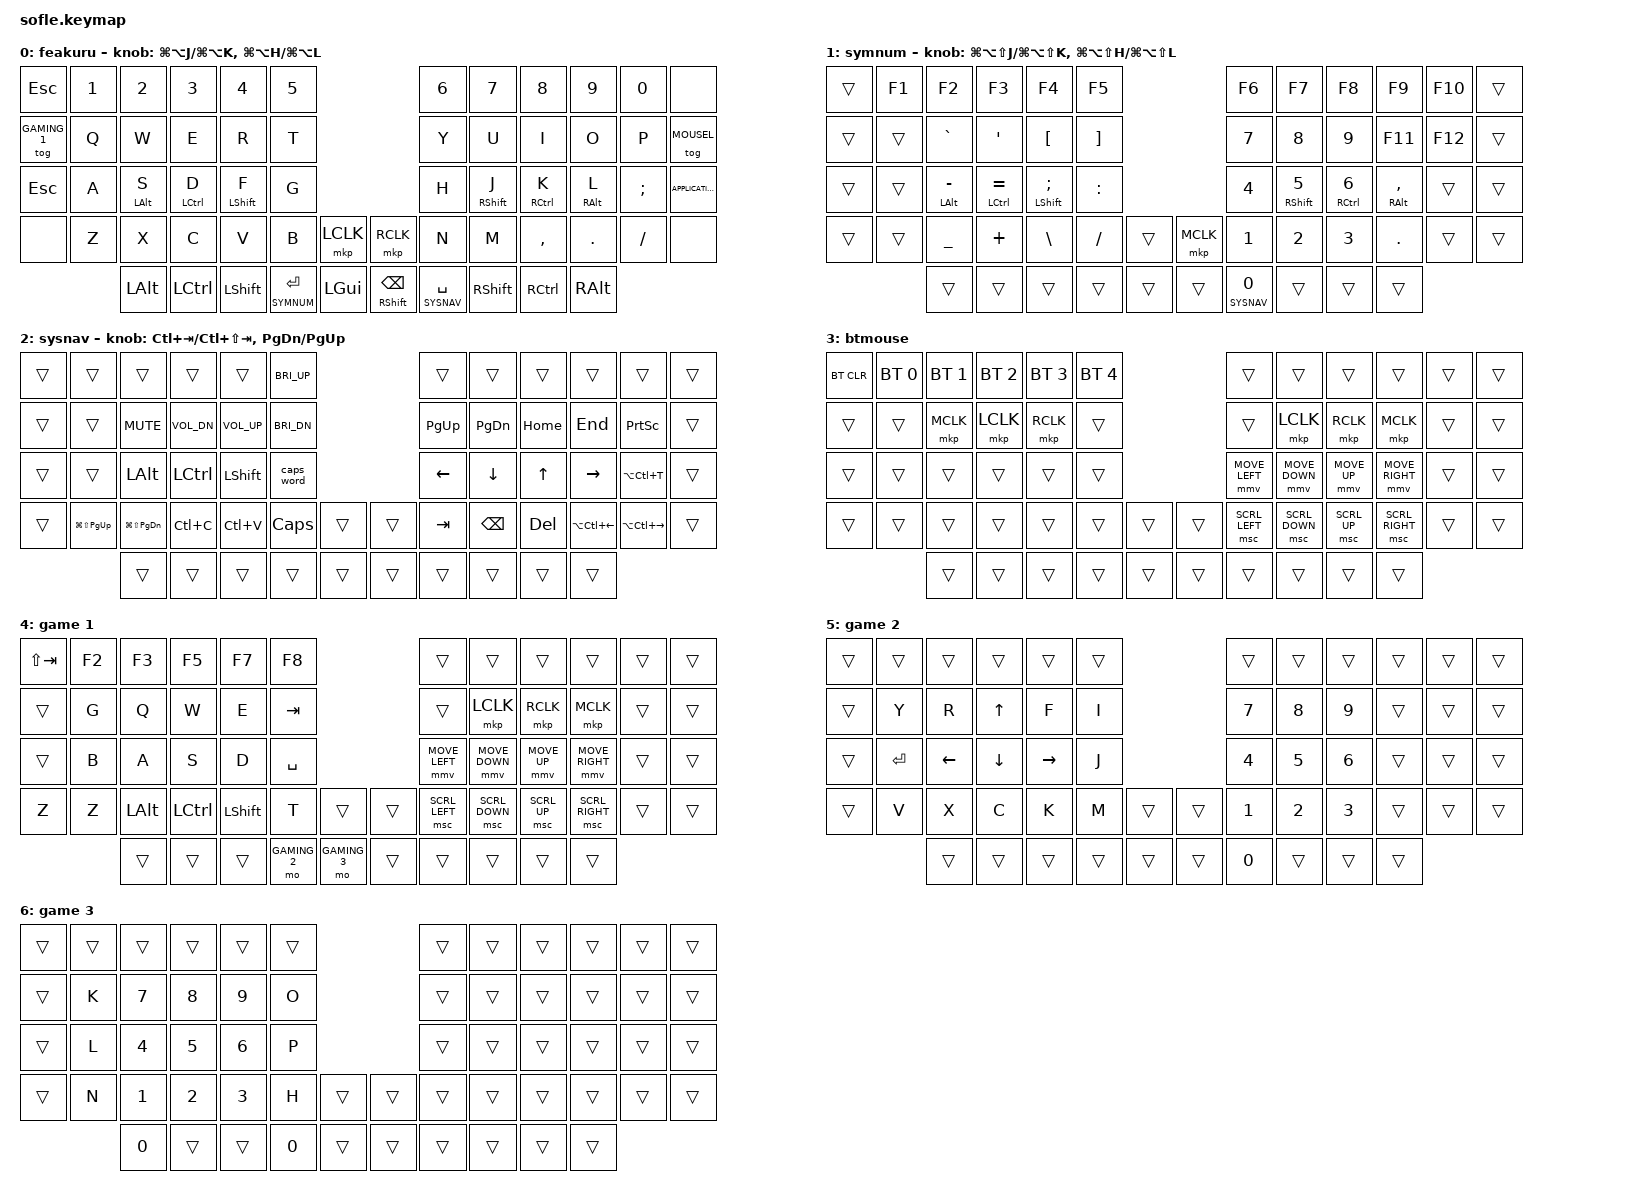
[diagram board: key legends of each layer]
#define ZMK_POINTING_DEFAULT_MOVE_VAL 600
#define ZMK_POINTING_DEFAULT_SCRL_VAL 70
#define ZMK_MOUSE_SCRL_VAL 140

#include <behaviors.dtsi>
#include <dt-bindings/zmk/keys.h>
#include <dt-bindings/zmk/bt.h>
#include <dt-bindings/zmk/rgb.h>
#include <dt-bindings/zmk/ext_power.h>
#include <dt-bindings/zmk/pointing.h>

#define BASE      0
#define SYMNUM    1
#define SYSNAV    2
#define MOUSEL    3
#define GAMING_1  4
#define GAMING_2  5
#define GAMING_3  6

&mmv {
  acceleration-exponent = <1>;
  time-to-max-speed-ms = <300>;
};

&msc {
  acceleration-exponent = <10>;
  time-to-max-speed-ms = <100>;
};

/ {
    behaviors {
        bhm: balanced_homerow_mods {
            compatible = "zmk,behavior-hold-tap";
            #binding-cells = <2>;
            tapping-term-ms = <200>;    // <---[[moderate duration]]
            quick-tap-ms = <0>;
            flavor = "balanced";
            bindings = <&kp>, <&kp>;
        };
    };

    keymap {
        compatible = "zmk,keymap";

        default_layer {
            display-name = "feakuru";
            bindings = <
&kp ESC        &kp N1  &kp N2       &kp N3        &kp N4         &kp N5                                          &kp N6            &kp N7         &kp N8        &kp N9       &kp N0    &none
&tog GAMING_1  &kp Q   &kp W        &kp E         &kp R          &kp T                                           &kp Y             &kp U          &kp I         &kp O        &kp P     &tog MOUSEL
&kp ESC        &kp A   &bhm LALT S  &bhm LCTRL D  &bhm LSHIFT F  &kp G                                           &kp H             &bhm RSHIFT J  &bhm RCTRL K  &bhm RALT L  &kp SEMI  &kp K_APPLICATION
&none          &kp Z   &kp X        &kp C         &kp V          &kp B             &mkp LCLK   &mkp RCLK         &kp N             &kp M          &kp COMMA     &kp DOT      &kp FSLH  &none
                       &kp LALT     &kp LCTRL     &kp LSHIFT     &lt SYMNUM ENTER  &kp LGUI    &bhm RSHIFT BSPC  &lt SYSNAV SPACE  &kp RSHIFT     &kp RCTRL     &kp RALT
            >;
            sensor-bindings =
                <&inc_dec_kp LG(LA(J)) LG(LA(K))>,
                <&inc_dec_kp LG(LA(H)) LG(LA(L))>;
        };

        symnum_layer {
            display-name = "symnum";
            bindings = <
&trans  &kp F1  &kp F2           &kp F3            &kp F4            &kp F5                        &kp F6         &kp F7          &kp F8         &kp F9           &kp F10  &trans
&trans  &trans  &kp GRAVE        &kp APOS          &kp LBKT          &kp RBKT                      &kp N7         &kp N8          &kp N9         &kp F11          &kp F12  &trans
&trans  &trans  &bhm LALT MINUS  &bhm LCTRL EQUAL  &bhm LSHIFT SEMI  &kp COLON                     &kp N4         &bhm RSHIFT N5  &bhm RCTRL N6  &bhm RALT COMMA  &trans   &trans
&trans  &trans  &kp UNDERSCORE   &kp PLUS          &kp BSLH          &kp FSLH   &trans  &mkp MCLK  &kp N1         &kp N2          &kp N3         &kp DOT          &trans   &trans
                &trans           &trans            &trans            &trans     &trans  &trans     &lt SYSNAV N0  &trans          &trans         &trans
            >;
            sensor-bindings =
                <&inc_dec_kp LG(LA(LS(J))) LG(LA(LS(K)))>,
                <&inc_dec_kp LG(LA(LS(H))) LG(LA(LS(L)))>;
        };

        sysnav_layer {
            display-name = "sysnav";
            bindings = <
&trans  &trans             &trans             &trans        &trans        &kp C_BRI_UP                  &trans     &trans     &trans    &trans             &trans             &trans
&trans  &trans             &kp C_MUTE         &kp C_VOL_DN  &kp C_VOL_UP  &kp C_BRI_DN                  &kp PG_UP  &kp PG_DN  &kp HOME  &kp END            &kp PSCRN          &trans
&trans  &trans             &kp LALT           &kp LCTRL     &kp LSHFT     &caps_word                    &kp LEFT   &kp DOWN   &kp UP    &kp RIGHT          &kp LA(LC(T))      &trans
&trans  &kp LG(LS(PG_UP))  &kp LG(LS(PG_DN))  &kp LC(C)     &kp LC(V)     &kp CAPS      &trans  &trans  &kp TAB    &kp BSPC   &kp DEL   &kp LA(LC(LEFT))   &kp LA(LC(RIGHT))  &trans
                           &trans             &trans        &trans        &trans        &trans  &trans  &trans     &trans     &trans    &trans
            >;
            sensor-bindings = 
                <&inc_dec_kp LC(TAB) LC(LS(TAB))>,
                <&inc_dec_kp PG_DN PG_UP>;
        };

        mouse_layer {
            display-name = "btmouse";
            bindings = <
&bt BT_CLR  &bt BT_SEL 0  &bt BT_SEL 1  &bt BT_SEL 2  &bt BT_SEL 3  &bt BT_SEL 4                   &trans          &trans          &trans          &trans           &trans  &trans
&trans      &trans        &mkp MCLK     &mkp LCLK     &mkp RCLK     &trans                         &trans          &mkp LCLK       &mkp RCLK       &mkp MCLK        &trans  &trans
&trans      &trans        &trans        &trans        &trans        &trans                         &mmv MOVE_LEFT  &mmv MOVE_DOWN  &mmv MOVE_UP    &mmv MOVE_RIGHT  &trans  &trans
&trans      &trans        &trans        &trans        &trans        &trans        &trans  &trans   &msc SCRL_LEFT  &msc SCRL_DOWN  &msc SCRL_UP    &msc SCRL_RIGHT  &trans  &trans
                          &trans        &trans        &trans        &trans        &trans  &trans   &trans          &trans          &trans          &trans
            >;
        };

        gaming_1_layer {
            display-name = "game 1";
            bindings = <
&kp LS(TAB)  &kp F2  &kp F3    &kp F5     &kp F7     &kp F8                            &trans          &trans          &trans          &trans           &trans  &trans
&trans       &kp G   &kp Q     &kp W      &kp E      &kp TAB                           &trans          &mkp LCLK       &mkp RCLK       &mkp MCLK        &trans  &trans
&trans       &kp B   &kp A     &kp S      &kp D      &kp SPACE                         &mmv MOVE_LEFT  &mmv MOVE_DOWN  &mmv MOVE_UP    &mmv MOVE_RIGHT  &trans  &trans
&kp Z        &kp Z   &kp LALT  &kp LCTRL  &kp LSHFT  &kp T        &trans       &trans  &msc SCRL_LEFT  &msc SCRL_DOWN  &msc SCRL_UP    &msc SCRL_RIGHT  &trans  &trans
                     &trans    &trans     &trans     &mo GAMING_2 &mo GAMING_3 &trans  &trans          &trans          &trans          &trans
            >;
        };

        gaming_2_layer {
            display-name = "game 2";
            bindings = <
&trans  &trans     &trans    &trans    &trans     &trans                  &trans  &trans  &trans  &trans  &trans  &trans
&trans  &kp Y      &kp R     &kp UP    &kp F      &kp I                   &kp N7  &kp N8  &kp N9  &trans  &trans  &trans
&trans  &kp ENTER  &kp LEFT  &kp DOWN  &kp RIGHT  &kp J                   &kp N4  &kp N5  &kp N6  &trans  &trans  &trans
&trans  &kp V      &kp X     &kp C     &kp K      &kp M   &trans  &trans  &kp N1  &kp N2  &kp N3  &trans  &trans  &trans
                   &trans    &trans    &trans     &trans  &trans  &trans  &kp N0  &trans  &trans  &trans
            >;
        };

        gaming_3_layer {
            display-name = "game 3";
            bindings = <
&trans  &trans  &trans    &trans   &trans   &trans                  &trans &trans &trans &trans &trans &trans
&trans  &kp K   &kp N7    &kp N8   &kp N9   &kp O                   &trans &trans &trans &trans &trans &trans
&trans  &kp L   &kp N4    &kp N5   &kp N6   &kp P                   &trans &trans &trans &trans &trans &trans
&trans  &kp N   &kp N1    &kp N2   &kp N3   &kp H   &trans  &trans  &trans &trans &trans &trans &trans &trans
                &kp N0    &trans   &trans   &kp N0  &trans  &trans  &trans &trans &trans &trans
            >;
        };
    };
};
